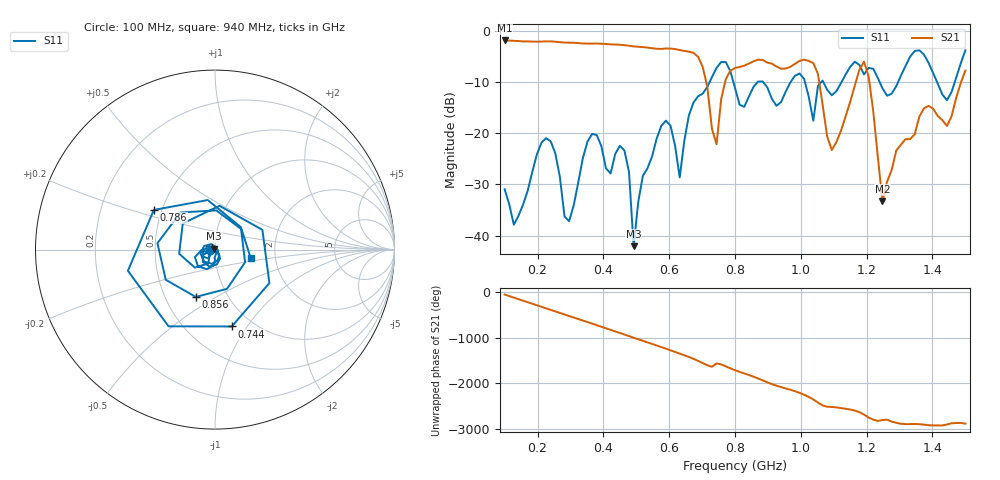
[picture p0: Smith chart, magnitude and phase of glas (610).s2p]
! NanoVNA-App
! Date: 2025-09-25 16:00:13
! Start: 100MHz Stop: 1,5GHz Points: 101
! S-Parameter data: F S11 S21 S12 S22
# Hz S RI R 50
!  Frequency  S11_Real  S11_Imag  S21_Real  S21_Imag  S12_Real  S12_Imag  S22_Real  S22_Imag
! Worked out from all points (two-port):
!   101 points, 100 MHz to 1.5 GHz, reference 50 ohm
!   highest |S21| = -1.80 dB at 100 MHz (marker M1); lowest = -33.3 dB at 1.248 GHz (marker M2)
!   |S21| within 3 dB of the highest: start of sweep to 684.2 MHz
!   lowest |S11| = -42.1 dB at 492 MHz (marker M3), VSWR 1.02, Z = 49.5 + j0.607 ohm
!   |S11| at or under -10 dB: start of sweep to 722.4 MHz; 795.3 MHz to 868 MHz (72.68 MHz wide, 8.74 % of centre); 886.1 MHz to 968.4 MHz (82.29 MHz wide, 8.87 % of centre) (the widest 3 of 7)
!   S12 and S22 are empty: the file has one direction only
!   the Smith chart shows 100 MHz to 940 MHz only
!   S11 on the Smith chart (normalised r, x): 100 MHz: 0.94, -0.01; 744 MHz: 0.80, -0.85; 786 MHz: 0.45, +0.24; 856 MHz: 0.71, -0.41; 940 MHz: 1.49, -0.14
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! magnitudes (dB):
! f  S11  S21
! 100 MHz  -30.9  -1.8
! 128 MHz  -37.9  -1.9
! 226 MHz  -20.9  -2.0
! 296 MHz  -37.2  -2.2
! 338 MHz  -24.8  -2.4
! 464 MHz  -23.4  -2.7
! 492 MHz  -42.1  -3.0
! 576 MHz  -18.5  -3.5
! 632 MHz  -28.6  -3.7
! 702 MHz  -12.2  -7.0
! 744 MHz  -7.2  -22.1
! 786 MHz  -7.8  -7.7
! 800 MHz  -11.1  -7.2
! 856 MHz  -10.9  -5.9
! 940 MHz  -13.9  -7.3
! 996 MHz  -8.3  -5.8
! 1.038 GHz  -17.5  -6.2
! 1.094 GHz  -12.5  -23.3
! 1.192 GHz  -8.5  -6.0
! 1.248 GHz  -11.2  -33.3
! 1.276 GHz  -12.2  -27.2
! 1.5 GHz  -3.7  -7.7
